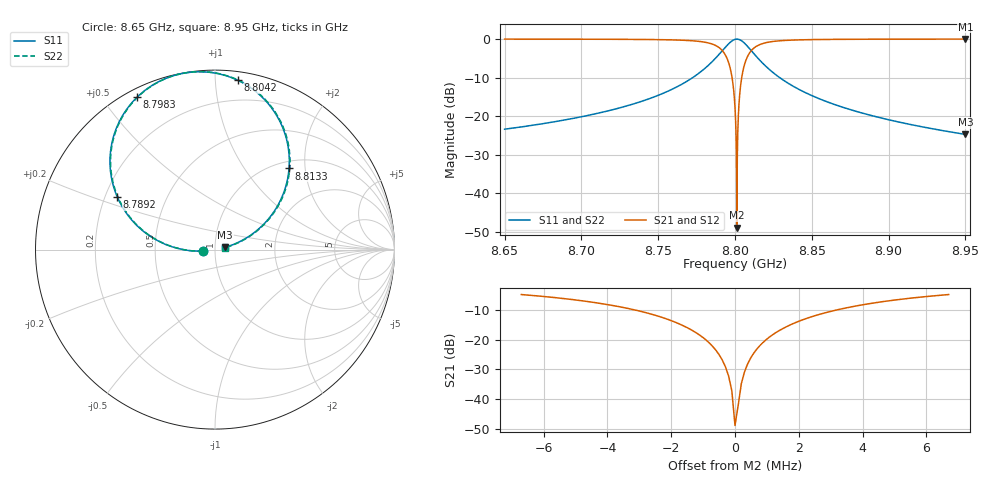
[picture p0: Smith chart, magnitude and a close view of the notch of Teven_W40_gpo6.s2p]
! Sonnet Data File
! From: emgraph Version : 16.52
! From Project: transmon_trial
! Data is De-embedded
! Data File Written: 10/20/2017 09:13:07
!< HDATE 10/19/2017 20:03:37
!< MDATE 10/19/2017 20:10:25
!< PARAMS
!< Lj = 15.24
!< Gap = 6.0
!< Width = 40.0
!< Airgap = 24.0
!< Pwidth = 2000.0
!< END PARAMS
# GHZ S MA R 51.00000
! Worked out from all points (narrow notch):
!   3001 points, 8.65 GHz to 8.95 GHz, reference 51 ohm
!   highest |S21| = -0.01 dB at 8.95 GHz (marker M1); lowest = -49.0 dB at 8.8012 GHz (marker M2)
!   notch at M2: 48.9 dB deep, 1.13 MHz wide at half that depth
!   lowest |S11| = -24.8 dB at 8.95 GHz (marker M3), VSWR 1.12, Z = 57.1 + j1.4 ohm
!   |S11| at or under -10 dB: start of sweep to 8.7725 GHz; 8.829 GHz to end of sweep
!   |S22| runs from -24.8 to 0.0 dB; largest |S21 - S12| = 0
!   S11 on the Smith chart (normalised r, x): 8.65 GHz: 0.87, -0.01; 8.7892 GHz: 0.25, +0.24; 8.7983 GHz: 0.03, +0.61; 8.8042 GHz: 0.06, +1.14; 8.8133 GHz: 1.14, +1.65; 8.95 GHz: 1.12, +0.03
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8.65  0.06749 -172.9  0.9977 -82.8  0.9977 -82.8  0.06749 -172.7
!< P1 F=8.65 Eeff=(6.44261619 -3.0744e-5) Z0=(50.478933 1.09474e-4) R=0.0 C=0.0
!< P2 F=8.65 Eeff=(6.44261619 -3.0744e-5) Z0=(50.478933 1.09474e-4) R=0.0 C=0.0
8.7  0.09792 -175.0  0.9952 -85.0  0.9952 -85.0  0.09792 -175.0
8.75  0.1859 179.5  0.9825 -90.6  0.9825 -90.6  0.1859 179.3
8.7768  0.3639 168.7  0.9312 -101.4  0.9312 -101.4  0.3639 168.4
8.7839  0.4808 161.2  0.8763 -108.9  0.8763 -108.9  0.4808 160.9
8.7892  0.6185 151.7  0.7848 -118.4  0.7848 -118.4  0.6185 151.3
8.7949  0.8298 133.7  0.5558 -136.3  0.5558 -136.3  0.8298 133.3
8.7968  0.9039 125.0  0.4241 -145.0  0.4241 -145.0  0.9039 124.6
8.7983  0.9534 117.1  0.2961 -152.7  0.2961 -152.7  0.9534 116.7
8.7993  0.9779 111.4  0.2001 -158.2  0.2001 -158.2  0.9779 111.0
8.8  0.9898 107.3  0.1291 -162.1  0.1291 -162.1  0.9898 106.9
8.8012  0.9981 100.1  0.00356 -138.4  0.00356 -138.4  0.9981 99.6
8.8023  0.9917 93.4  0.1129 2.2  0.1129 2.2  0.9917 93.0
8.8032  0.977 88.1  0.2048 -2.7  0.2048 -2.7  0.977 87.6
8.8042  0.9519 82.3  0.3009 -8.2  0.3009 -8.2  0.9519 81.9
8.8076  0.8262 65.7  0.5611 -24.7  0.5611 -24.7  0.8262 65.3
8.8133  0.6119 47.6  0.79 -42.7  0.79 -42.7  0.6119 47.1
8.8188  0.4684 37.7  0.883 -52.5  0.883 -52.5  0.4684 37.3
8.8259  0.3521 30.4  0.9357 -59.9  0.9357 -59.9  0.3521 29.8
8.85  0.1844 20.2  0.9828 -70.1  0.9828 -70.1  0.1844 19.6
8.9  0.08959 14.4  0.996 -76.1  0.996 -76.1  0.08959 13.5
8.95  0.05783 12.2  0.9983 -78.4  0.9983 -78.4  0.05783 11.1
